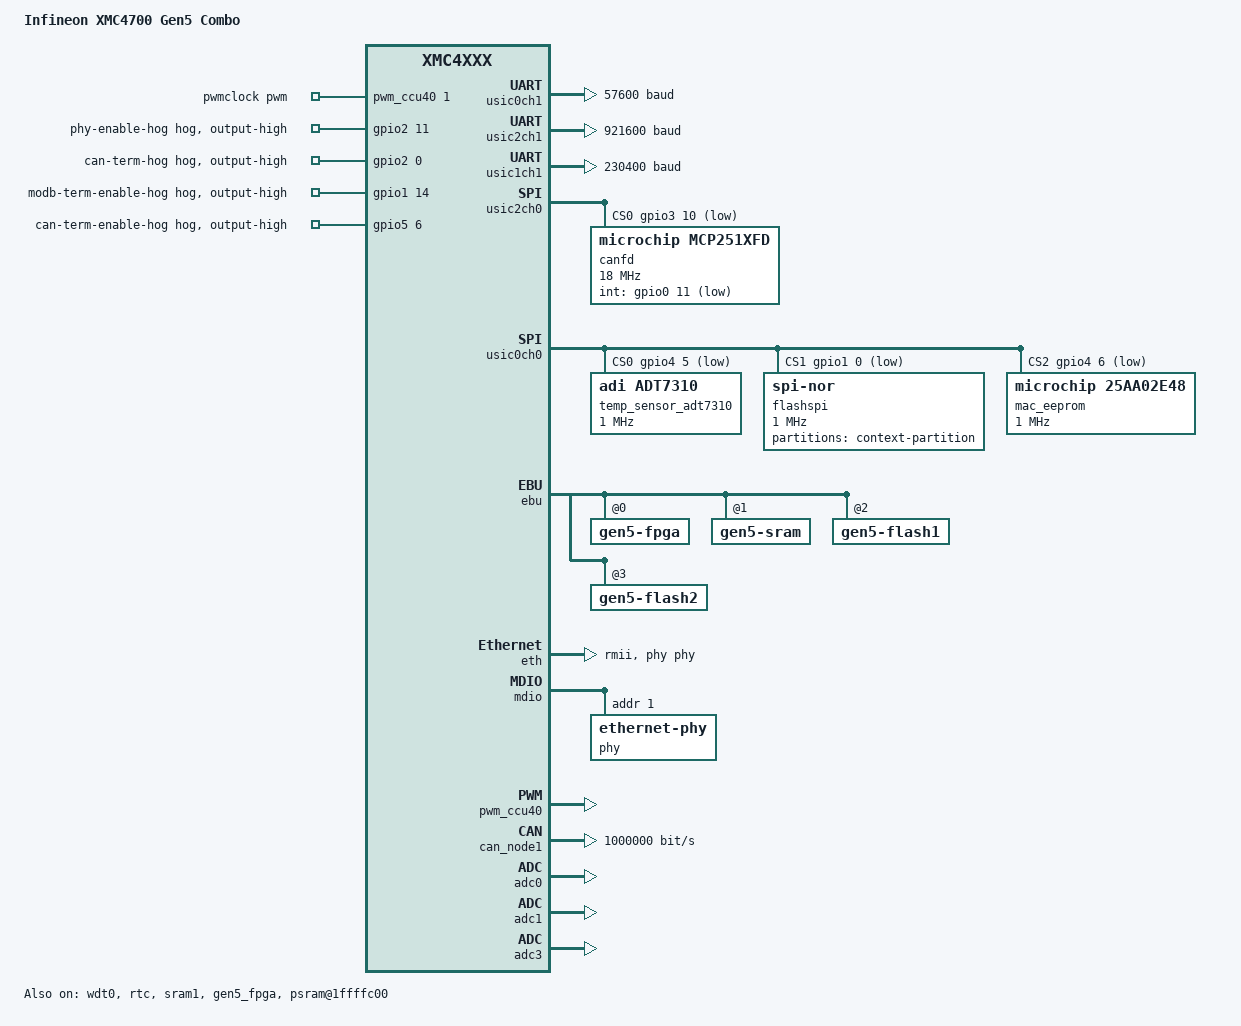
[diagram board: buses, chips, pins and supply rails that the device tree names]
/*
 * SPDX-License-Identifier: Apache-2.0
 *
 * Copyright (c) 2022 Schlumberger
 *
 */

/dts-v1/;

#include <infineon/xmc4700_F144x2048.dtsi>
#include "gen5_combo-pinctrl.dtsi"
#include <infineon/xmc4700_F144x2048-intc.dtsi>
#include <zephyr/dt-bindings/dma/infineon-xmc4xxx-dma.h>
#include <zephyr/dt-bindings/pwm/pwm.h>
#include <zephyr/dt-bindings/memory-controller/infineon-xmc4xxx-ebu.h>

/ {
	model = "Infineon XMC4700 Gen5 Combo";
	compatible = "infineon,xmc4700", "infineon,xmc4xxx";

	chosen {
		zephyr,sram = &dsram_joined;
		zephyr,flash = &flash0;
		zephyr,flash-controller = &flash_controller;
		zephyr,canbus = &canfd;
		zephyr,code-partition = &boot_partition;
		zephyr,uart-pipe = &usic1ch1;
		zephyr,boot-mode = &retention0;
	};

	aliases {
		modb-uart = &usic2ch1;
		ssb-uart = &usic0ch1;
		plc-uart = &usic1ch1;
		temp-sensor = &temp_sensor_adt7310;
		watchdog0 = &wdt0;
		spi-flash0 = &flashspi;
		rtc = &rtc;
		can-open = &can_node1;
	};

	pwmclock: pwmclock {
		status = "okay";
		compatible = "pwm-clock";
		#clock-cells = <1>;
		clock-frequency = <12000000>;
		pwm-on-delay = <10000>;
		pwms = <&pwm_ccu40 1 PWM_HZ(12000000) PWM_POLARITY_NORMAL>;
	};

	external-flash {

		#address-cells = <1>;
		#size-cells = <0>;

		flashebu1: flashebu@68000000 {
			status = "okay";
			compatible = "micron,mt29fx-memc-nand";
			reg = <0x68000000>;
			ale-address-mask = <0x80000>; // labelled a16 in schematic but actually p6_2 -> a18
			cle-address-mask = <0x40000>; // labelled a17 in schematic but actually p6_1 -> a17
			write-page-size = <8192>;
			partial-write-page-size = <2048>;
			num-blocks = <8192>;
			pages-per-block = <128>;
			memc-handle = <&ebu>;
			memc-index = <2>;
			dmas = <&dma0 0 0 0>;
			dma-names = "read";
		};

		flashebu2: flashebu@6c000000 {
			status = "okay";
			compatible = "micron,mt29fx-memc-nand";
			reg = <0x6c000000>;
			ale-address-mask = <0x80000>;
			cle-address-mask = <0x40000>;
			write-page-size = <8192>;
			partial-write-page-size = <2048>;
			num-blocks = <8192>;
			pages-per-block = <128>;
			memc-handle = <&ebu>;
			memc-index = <3>;
			dmas = <&dma0 1 0 0>;
			dma-names = "read";
		};
	};

	plc: plc {
		status = "disabled";
		compatible = "maxim,max79356-plc";
		ext-mac-address = [00 00 00 00 00 00 00 aa];
		multicast-group = <0x8000>;
		broadcast-group = <0x8fff>;
		short-address = <0x0000>;
		pan-id = [40 21];
		hw-reset-gpios = <&gpio4 7 0>;
		hw-prog-gpios = <&gpio0 12 0>;
	};

	sram1: sram@64000000 {
		status = "okay";
		compatible = "zephyr,memory-region", "mmio-sram";
		device_type = "memory";
		reg = <0x64000000 DT_SIZE_M(2)>;
		zephyr,memory-region = "SRAM1";
		delay-relocation;
	};

	gen5_fpga: gen5_fpga@60000000 {
		status = "okay";
		compatible = "infineon,xmc4xxx-gen5-fpga";
		reg = <0x60000000 0x4000000>;
		int-gpios = <&gpio0 0 GPIO_ACTIVE_LOW>;
		rx-enable-gpios = <&gpio5 11 0>;
		current-measure-enable-gpios = <&gpio5 10 0>;
		pll-locked-gpios = <&gpio0 15 0>;
		modb-int-de-gpios = <&gpio5 4 0>;
		modb-int-tx-gpios = <&gpio3 13 0>;
		clocks = <&pwmclock 0>;
	};

	gen5_time_sync: gen5_time_sync {
		status = "disabled";
		compatible = "infineon,xmc4xxx-gen5-time-sync";
	};

	gen5_emotas_can: gen5_emotas_can {
		compatible = "emotas,can-open";
		can-handles = <&canfd &can_node1>;
	};

	psram@1ffffc00 {
		compatible = "zephyr,memory-region", "mmio-sram";
		reg = <0x1ffffc00 DT_SIZE_K(1)>;
		zephyr,memory-region = "RetainedMem";
		status = "okay";

		retainedmem {
			compatible = "zephyr,retained-ram";
			status = "okay";
			#address-cells = <1>;
			#size-cells = <1>;

			retention0: retention@0 {
				compatible = "zephyr,retention";
				status = "okay";
				reg = <0x0 0x1>;
			};
		};
	};
};

&psram1 {
	compatible = "zephyr,memory-region", "mmio-sram";
	zephyr,memory-region = "PSRAM1";
	reg = <0x1ffe8000 DT_SIZE_K(95)>;
};

&usic0ch1 {
	compatible = "infineon,xmc4xxx-uart";
	current-speed = <57600>;
	interrupts = <84 1 85 1>; //SR2, SR3
	interrupt-names = "tx", "rx";
	// lines 8,9 are used. use line 10, 11
	pinctrl-0 = <&uart_tx_p3_13_u0c1 &uart_rx_p6_3_u0c1>;
	pinctrl-names = "default";
	input-src = "DX0C";
	fifo-start-offset = <0>;
	fifo-tx-size = <0>;
	fifo-rx-size = <0>;
	dir-gpios = <&gpio5 4 0>;
	status = "okay";
};

&usic2ch1 {
	compatible = "infineon,xmc4xxx-uart";
	current-speed = <921600>;
	interrupts = <98 1 99 1>; //SR2, SR3
	interrupt-names = "tx", "rx";
	// lines 8,9 are used. use line 10, 11
	dmas = <&dma1 2 0 XMC4XXX_SET_CONFIG(10,7)>, <&dma1 3 0 XMC4XXX_SET_CONFIG(11,7)>;
	dma-names = "tx", "rx";
	pinctrl-0 = <&uart_tx_p3_11_u2c1 &uart_rx_p3_12_u2c1>;
	pinctrl-names = "default";
	input-src = "DX0D";
	fifo-start-offset = <0>;
	fifo-tx-size = <0>;
	fifo-rx-size = <0>;
	dir-gpios = <&gpio5 7 0>;
	status = "okay";
};

&usic1ch1 {
	compatible = "infineon,xmc4xxx-uart";
	current-speed = <230400>;
	interrupts = <90 1 91 1>;
	interrupt-names = "tx", "rx";
	dmas = <&dma0 2 0 XMC4XXX_SET_CONFIG(1,11)>, <&dma0 3 0 XMC4XXX_SET_CONFIG(3,12)>;
	dma-names = "tx", "rx";
	pinctrl-0 = <&uart_tx_p3_15_u1c1 &uart_rx_p3_14_u1c1>;
	pinctrl-names = "default";
	input-src = "DX0B";
	fifo-start-offset = <0>;
	fifo-tx-size = <0>;
	fifo-rx-size = <0>;
	status = "okay";
};

&dma0 {
	status = "okay";
};

&dma1 {
	status = "okay";
};

&cpu0 {
	clock-frequency = <144000000>;
};

&flash0 {
	partitions {
		compatible = "fixed-partitions";
		#address-cells = <1>;
		#size-cells = <1>;

		boot_partition: partition@0 {
			reg = <0x00000000 0x0001c0000>;
			read-only;
		};
	};
};

&usic2ch0 {
	compatible = "infineon,xmc4xxx-spi";
	pinctrl-0 = <&spi_mosi_p3_8_u2c0 &spi_miso_p3_7_u2c0 &spi_sclk_p3_9_u2c0>;
	pinctrl-names = "default";
	miso-src = "DX0C";
	cs-gpios = <&gpio3 10 GPIO_ACTIVE_LOW>;
	status = "okay";
	interrupts = <96 1 97 1>;
	interrupt-names = "tx", "rx";

	dmas = <&dma1 0 0 XMC4XXX_SET_CONFIG(8,6)>, <&dma1 1 0 XMC4XXX_SET_CONFIG(9,6)>;
	dma-names = "tx", "rx";

	#address-cells = <1>;
	#size-cells = <0>;

	canfd: mcp251xfd@0 {
		compatible = "microchip,mcp251xfd";
		spi-max-frequency = <18000000>;
		int-gpios = <&gpio0 11 GPIO_ACTIVE_LOW>;
		status = "okay";
		reg = <0x0>;
		osc-freq = <40000000>;
		sof-on-clko;
		bus-speed = <500000>;
		bus-speed-data = <2000000>;
		sample-point = <800>;
		sample-point-data = <800>;
	};
};

&usic0ch0 {
	status = "okay";
	compatible = "infineon,xmc4xxx-spi";
	pinctrl-0 = <&spi_mosi_p1_5_u0c0 &spi_miso_p1_4_u0c0 &spi_sclk_p1_1_u0c0>;
	pinctrl-names = "default";
	cs-gpios = <&gpio4 5 GPIO_ACTIVE_LOW
		    &gpio1 0 GPIO_ACTIVE_LOW
		    &gpio4 6 GPIO_ACTIVE_LOW>;
	miso-src = "DX0B";

	#address-cells = <1>;
	#size-cells = <0>;
	interrupts = <86 1 87 1>;
	interrupt-names = "tx", "rx";

	temp_sensor_adt7310: temp_sensor@0 {
		status = "okay";
		compatible = "adi,adt7310";
		spi-max-frequency = <1000000>;
		reg = <0x0>;
	};

	flashspi: flashspi@1 {
		compatible = "jedec,spi-nor";
		status = "okay";
		size = <DT_SIZE_M(16)>; // in bits
		jedec-id = [bf 25 41];
		page-size = <1>;
		has-lock = <0x1c>;
		reg = <1>;
		spi-max-frequency = <1000000>;

		partitions {
			compatible = "fixed-partitions";
			#address-cells = <1>;
			#size-cells = <1>;

			context_partition: partition@0 {
					   label = "context-partition";
					   reg = <0x0 DT_SIZE_M(2)>; //in bytes
			};
		};
	};

	mac_eeprom: mac_eeprom@2 {
		status = "okay";
		compatible = "microchip,25aa02e48", "atmel,at25";
		spi-max-frequency = <1000000>;
		reg = <0x2>;
		size = <256>;
		pagesize = <16>;
		timeout = <100>;
		address-width = <8>;
	};
};

&ebu {
	pinctrl-0 = <
		&ebu_p0_2_ad0
		&ebu_p0_3_ad1
		&ebu_p0_4_ad2
		&ebu_p0_5_ad3
		&ebu_p3_5_ad4
		&ebu_p3_6_ad5
		&ebu_p0_7_ad6
		&ebu_p0_8_ad7
		&ebu_p4_0_ad8
		&ebu_p4_1_ad9
		&ebu_p1_6_ad10
		&ebu_p1_7_ad11
		&ebu_p1_8_ad12
		&ebu_p1_9_ad13
		&ebu_p1_2_ad14
		&ebu_p1_3_ad15
		&ebu_p6_0_a16
		&ebu_p6_1_a17
		&ebu_p6_2_a18
		&ebu_p6_4_a19
		&ebu_p0_6_adv
		&ebu_p3_0_rd
		&ebu_p3_1_rd_nwr
		&ebu_p3_3_nwait
		&ebu_p3_2_cs0
		&ebu_p0_9_cs1
		&ebu_p5_8_cs2
		&ebu_p5_9_cs3
		&ebu_p2_14_bc0
		&ebu_p2_15_bc1
	>;
	pinctrl-names = "default";
	clock-divider = <1>;
	modes-config = <XMC4XXX_EBU_SET_MODCON(1, 0, 0, 3, 0, 1)>;
	gpio-control-config = <XMC4XXX_EBU_SET_USERCON(0x1f0, 0)>;
	gen5-fpga@0 {
		reg = <0>;
		device-type = "Muxed Asynchronous Type";
		address-bus-width = "16-bit";

		address-valid-cycles = <15 15>;
		address-hold-cycles = <4 4>;
		command-delay-cycles = <0 0>;
		command-cycles = <32 20>;
		data-hold-cycles = <0 4>;
		recovery-cycles = <7 0>;
	};
	gen5-sram@1 {
		reg = <1>;
		device-type = "Muxed Asynchronous Type";
		address-bus-width = "16-bit";

		address-valid-cycles = <11 11>;
		address-hold-cycles = <8 8>;
		command-delay-cycles = <0 0>;
		command-cycles = <28 28>;
		data-hold-cycles = <0 0>;
		recovery-cycles = <7 7>;
	};
	gen5-flash1@2 {
		reg = <2>;
		device-type = "Muxed Asynchronous Type";
		address-bus-width = "16-bit";

		read-nwait-enable;
		write-nwait-enable;

		address-valid-cycles = <3 11>;
		address-hold-cycles = <0 4>;
		command-delay-cycles = <0 0>;
		command-cycles = <6 12>;
		data-hold-cycles = <0 0>;
		recovery-cycles = <0 0>;
	};
	gen5-flash2@3 {
		reg = <3>;
		device-type = "Muxed Asynchronous Type";
		address-bus-width = "16-bit";
		read-nwait-enable;
		write-nwait-enable;

		address-valid-cycles = <3 11>;
		address-hold-cycles = <0 4>;
		command-delay-cycles = <0 0>;
		command-cycles = <6 12>;
		data-hold-cycles = <0 0>;
		recovery-cycles = <0 0>;
	};
	status = "okay";
};

&eth {
	status = "okay";
	pinctrl-0 = <&eth_p5_3_rxer &eth_p2_2_rxd0 &eth_p2_3_rxd1
		     &eth_p6_5_clk_rmii &eth_p5_2_crs_dv &eth_p2_5_tx_en
		     &eth_p2_8_txd0 &eth_p2_9_txd1>;
	pinctrl-names = "default";

	rxer-port-ctrl = "P5_3";
	rxd0-port-ctrl = "P2_2";
	rxd1-port-ctrl = "P2_3";
	rmii-rx-clk-port-ctrl = "P6_5";
	crs-rx-dv-port-ctrl = "P5_2";

	phy-connection-type = "rmii";
	phy-handle = <&phy>;
	mac-eeprom = <&mac_eeprom>;
};

&mdio {
	status = "okay";
	mdi-port-ctrl = "P1_11";
	pinctrl-0 = <&eth_p1_11_mdo &eth_p1_10_mdc>;
	pinctrl-names = "default";

	phy: ethernet-phy@1 {
		status = "okay";
		compatible = "ethernet-phy";
		reg = <1>;
	};
};

&gpio2 {
	status = "okay";
	phy-enable-hog {
		gpio-hog;
		gpios = <11 GPIO_ACTIVE_HIGH>;
		output-high;
	};
	can-term-hog {
		gpio-hog;
		gpios = <0 GPIO_ACTIVE_HIGH>;
		output-high;
	};
};

&gpio0 {
    status = "okay";
};

&gpio1 {
	status = "okay";
	modb-term-enable-hog {
		gpio-hog;
		gpios = <14 GPIO_ACTIVE_HIGH>;
		output-high;
	};
};

&gpio3 {
	status = "okay";
};

&gpio4 {
	status = "okay";
};

&gpio5 {
	status = "okay";
	can-term-enable-hog {
		gpio-hog;
		gpios = <6 GPIO_ACTIVE_HIGH>;
		output-high;
	};
};

&pwm_ccu40 {
	status = "okay";
	slice-prescaler = <0 0 0 0>;
	pinctrl-0 = <&pwm_out_p0_14_ccu40_ch1>;
	pinctrl-names = "default";
};

&can {
	clock-prescaler = <6>;
};

&can_node1 {
	status = "okay";
	input-src = "RXDA";
	bus-speed = <1000000>;
	sample-point = <800>;
	pinctrl-0 = <&can_tx_p2_7_node1 &can_rx_p2_6_node1>;
	pinctrl-names = "default";
};

&wdt0 {
	status = "okay";
};

&adc0 {
	vref-internal-mv = <5000>;
	status = "okay";
};

&adc1 {
	vref-internal-mv = <5000>;
	status = "okay";
};

&adc3 {
	vref-internal-mv = <5000>;
	status = "okay";
};

&rtc {
	status = "okay";
};
